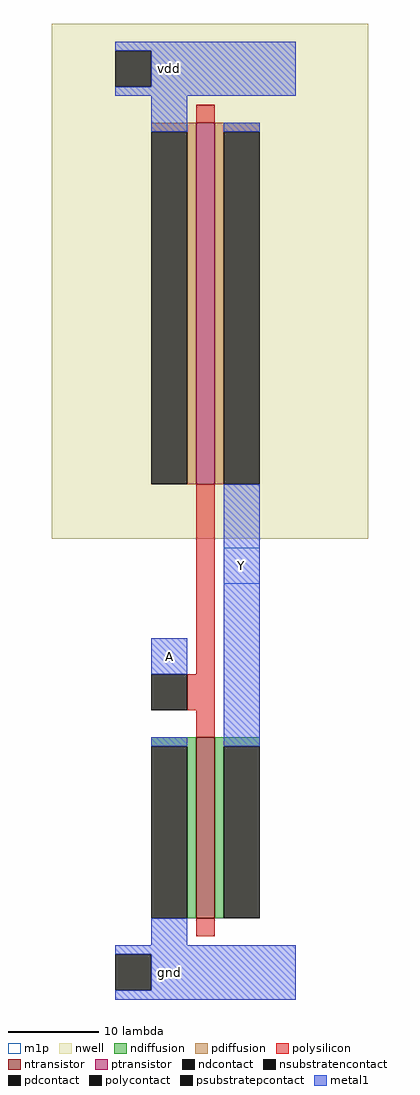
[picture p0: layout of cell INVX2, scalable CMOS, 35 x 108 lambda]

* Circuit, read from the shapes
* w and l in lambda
.subckt INVX2 A Y gnd vdd
M1 Y A gnd gnd nfet w=20 l=2
M2 Y A vdd vdd pfet w=40 l=2
.ends

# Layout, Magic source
magic
tech scmos
<< nwell >>
rect -9 48 26 105
<< ntransistor >>
rect 7 6 9 26
<< ptransistor >>
rect 7 54 9 94
<< ndiffusion >>
rect 2 25 7 26
rect 6 6 7 25
rect 9 25 14 26
rect 9 6 10 25
<< pdiffusion >>
rect 2 93 7 94
rect 6 54 7 93
rect 9 93 14 94
rect 9 54 10 93
<< ndcontact >>
rect 2 6 6 25
rect 10 6 14 25
<< pdcontact >>
rect 2 54 6 93
rect 10 54 14 93
<< psubstratepcontact >>
rect -2 -2 2 2
<< nsubstratencontact >>
rect -2 98 2 102
<< polysilicon >>
rect 7 94 9 96
rect 7 33 9 54
rect 6 29 9 33
rect 7 26 9 29
rect 7 4 9 6
<< polycontact >>
rect 2 29 6 33
<< metal1 >>
rect -2 102 18 103
rect 2 98 18 102
rect -2 97 18 98
rect 2 93 6 97
rect 10 93 14 94
rect 2 33 6 37
rect 2 25 6 26
rect 10 25 14 54
rect 2 3 6 6
rect -2 2 18 3
rect 2 -2 18 2
rect -2 -3 18 -2
<< m1p >>
rect 10 43 14 47
rect 2 33 6 37
<< labels >>
rlabel metal1 4 100 4 100 4 vdd
rlabel metal1 4 0 4 0 4 gnd
rlabel metal1 12 45 12 45 4 Y
rlabel metal1 4 35 4 35 4 A
<< end >>
